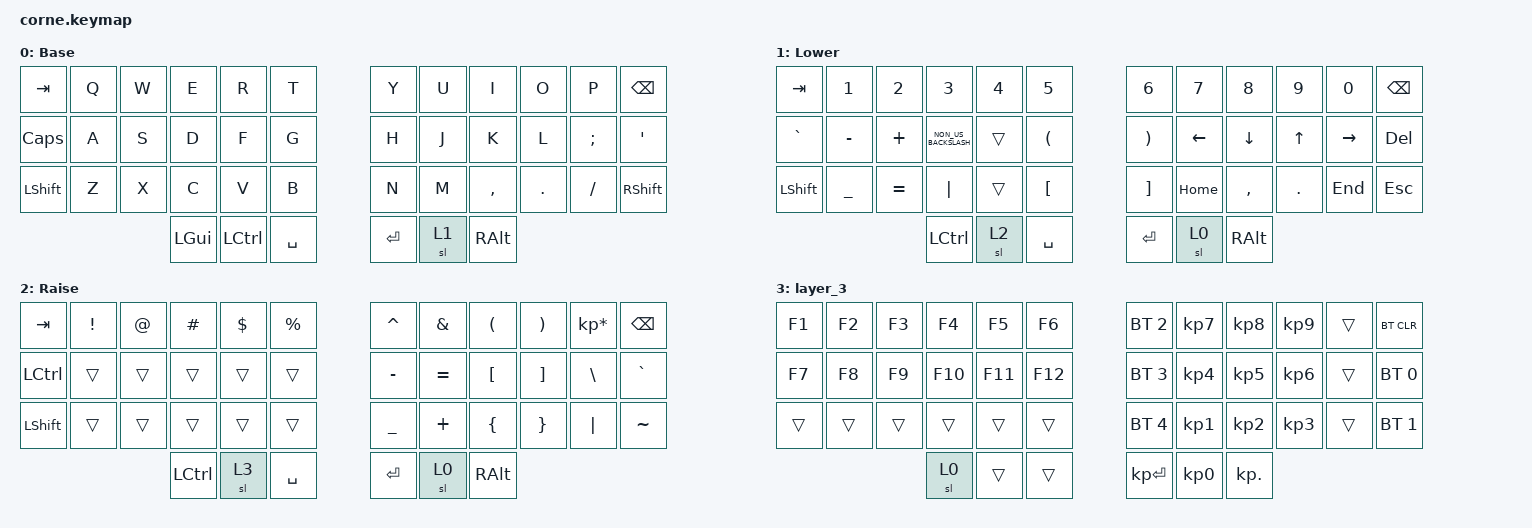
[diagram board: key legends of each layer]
/*
 * Copyright (c) 2020 The ZMK Contributors
 *
 * SPDX-License-Identifier: MIT
 */

#include <behaviors.dtsi>
#include <dt-bindings/zmk/keys.h>
#include <dt-bindings/zmk/bt.h>

/ {
    keymap {
        compatible = "zmk,keymap";

        default_layer {
            // -----------------------------------------------------------------------------------------
            // |  TAB |  Q  |  W  |  E  |  R  |  T  |   |  Y  |  U   |  I  |  O  |  P  | BKSP |
            // | CTRL |  A  |  S  |  D  |  F  |  G  |   |  H  |  J   |  K  |  L  |  ;  |  '   |
            // | SHFT |  Z  |  X  |  C  |  V  |  B  |   |  N  |  M   |  ,  |  .  |  /  | ESC  |
            //                    | GUI | LWR | SPC |   | ENT | RSE  | ALT |

            display-name = "Base";
            bindings = <
&kp TAB    &kp Q  &kp W  &kp E         &kp R             &kp T        &kp Y    &kp U  &kp I          &kp O    &kp P     &kp BSPC
&kp CLCK   &kp A  &kp S  &kp D         &kp F             &kp G        &kp H    &kp J  &kp K          &kp L    &kp SEMI  &kp SQT
&kp LSHFT  &kp Z  &kp X  &kp C         &kp V             &kp B        &kp N    &kp M  &kp COMMA      &kp DOT  &kp FSLH  &kp RIGHT_SHIFT
                         &kp LEFT_GUI  &kp LEFT_CONTROL  &kp SPACE    &kp RET  &sl 1  &kp RIGHT_ALT
            >;
        };
            // -----------------------------------------------------------------------------------------
            // |  TAB |  1  |  2  |  3  |  4  |  5  |   |  6  |  7  |  8  |  9  |  0  | BKSP |
            // | `    |  -  |  +  | BT3 | BT4 | BT5 |   | LFT | DWN |  UP | RGT |     |      |
            // | SHFT |  _  |  =  |     |     |     |   |     |     |     |     |     |      |
            //                    | GUI |     | SPC |   | ENT |     | ALT |
        lower_layer {


            display-name = "Lower";
            bindings = <
&kp TAB    &kp N1     &kp N2     &kp N3                &kp N4  &kp N5              &kp N6             &kp N7    &kp N8     &kp N9      &kp N0     &kp BSPC
&kp GRAVE  &kp MINUS  &kp PLUS   &kp NON_US_BACKSLASH  &trans  &kp LPAR            &kp RPAR           &kp LEFT  &kp DOWN   &kp UP      &kp RIGHT  &kp DEL
&kp LSHFT  &kp UNDER  &kp EQUAL  &kp PIPE              &trans  &kp LEFT_BRACKET    &kp RIGHT_BRACKET  &kp HOME  &kp COMMA  &kp PERIOD  &kp END    &kp ESCAPE
                                 &kp LEFT_CONTROL      &sl 2   &kp SPACE           &kp RET            &sl 0     &kp RALT
            >;
        };

        raise_layer {
            // -----------------------------------------------------------------------------------------
            // |  TAB |  !  |  @  |  #  |  $  |  %  |   |  ^  |  &  |  *  |  (  |  )  | BKSP |
            // | CTRL |     |     |     |     |     |   |  -  |  =  |  [  |  ]  |  \  |  `   |
            // | SHFT |     |     |     |     |     |   |  _  |  +  |  {  |  }  | "|" |  ~   |
            //                    | GUI |     | SPC |   | ENT |     | ALT |

            display-name = "Raise";
            bindings = <
&kp TAB    &kp EXCL  &kp AT  &kp HASH          &kp DLLR  &kp PRCNT    &kp CARET  &kp AMPS   &kp LEFT_PARENTHESIS  &kp RIGHT_PARENTHESIS  &kp KP_MULTIPLY  &kp BSPC
&kp LCTRL  &trans    &trans  &trans            &trans    &trans       &kp MINUS  &kp EQUAL  &kp LBKT              &kp RBKT               &kp BSLH         &kp GRAVE
&kp LSHFT  &trans    &trans  &trans            &trans    &trans       &kp UNDER  &kp PLUS   &kp LBRC              &kp RBRC               &kp PIPE         &kp TILDE
                             &kp LEFT_CONTROL  &sl 3     &kp SPACE    &kp RET    &sl 0      &kp RALT
            >;
        };

        layer_3 {
            bindings = <
&kp F1  &kp F2  &kp F3  &kp F4   &kp F5   &kp F6     &bt BT_SEL 2  &kp KP_NUMBER_7  &kp KP_NUMBER_8  &kp KP_NUMBER_9  &trans  &bt BT_CLR
&kp F7  &kp F8  &kp F9  &kp F10  &kp F11  &kp F12    &bt BT_SEL 3  &kp KP_NUMBER_4  &kp KP_NUMBER_5  &kp KP_NUMBER_6  &trans  &bt BT_SEL 0
&trans  &trans  &trans  &trans   &trans   &trans     &bt BT_SEL 4  &kp KP_NUMBER_1  &kp KP_NUMBER_2  &kp KP_NUMBER_3  &trans  &bt BT_SEL 1
                        &sl 0    &trans   &trans     &kp KP_ENTER  &kp KP_NUMBER_0  &kp KP_DOT
            >;
        };
    };
};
